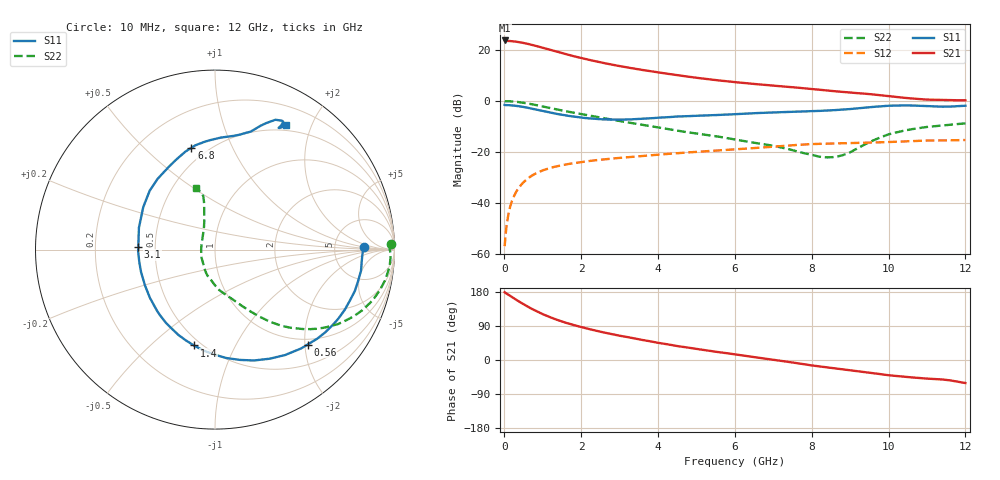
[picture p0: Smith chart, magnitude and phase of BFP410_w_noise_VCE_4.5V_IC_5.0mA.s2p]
! Infineon Technologies  Discrete & RF Semiconductors
! BFP410
! VCE =  4.5 V,  IC =  5.0 mA
! Common Emitter S-Parameters:  Nov 2015
# GHz  S  MA  R  50
!  f  S11  S21  S12  S22
! GHz  MAG  ANG  MAG  ANG  MAG  ANG  MAG  ANG
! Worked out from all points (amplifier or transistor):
!   243 points, 10 MHz to 12 GHz, reference 50 ohm
!   highest |S21| = 23.7 dB at 10 MHz (marker M1)
!   |S21| within 3 dB of that: start of sweep to 1.035 GHz
!   unconditionally stable (mu >= 1): start of sweep to 20.33 MHz; 3.109 GHz to end of sweep
!   at 240 MHz: K = 0.19, MSG = 30.6 dB, |S12| = -37.9 dB
!   at 1.84 GHz: K = 0.63, MSG = 20.9 dB, |S12| = -24.4 dB
!   at 12 GHz: K = 1.06, MAG = 6.3 dB, |S12| = -15.4 dB
!   lowest NFmin = 1.00 dB at 900 MHz
!   S11 on the Smith chart (normalised r, x): 10 MHz: 11, +1; 560 MHz: 0.88, -2.06; 1.4 GHz: 0.46, -0.70; 3.1 GHz: 0.40, +0.02; 6.8 GHz: 0.41, +0.71; 12 GHz: 0.43, +1.65
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0.01  0.8292 0.9  15.25 178.8  0.0014 11.1  0.9826 1.8
0.05  0.82 -3.8  14.96 175.7  0.003 62.5  0.9801 -1.4
0.14  0.8173 -11.6  14.87 170.2  0.0076 74.9  0.9764 -5.4
0.2  0.8123 -16.7  14.76 166.3  0.0107 75.4  0.9701 -7.9
0.34  0.7893 -28.3  14.33 157.2  0.0177 72.5  0.948 -13.3
0.45  0.7673 -37.1  13.88 150.4  0.0229 69.3  0.9252 -17.3
0.56  0.7391 -45.7  13.33 143.8  0.0276 66.0  0.897 -21.1
0.7  0.7053 -56.4  12.63 135.8  0.0332 62.1  0.8593 -25.5
0.9  0.6549 -70.6  11.53 125.7  0.0399 56.9  0.8021 -31.1
1.2  0.5855 -90.3  9.966 112.6  0.0481 50.7  0.718 -37.9
1.4  0.547 -102.4  9.028 105.1  0.0523 47.3  0.6677 -41.6
1.7  0.5018 -118.7  7.866 95.4  0.0579 43.3  0.6033 -46.1
2.02  0.4668 -134.5  6.845 86.5  0.0629 39.9  0.5448 -50.0
2.6  0.4315 -162.1  5.485 72.4  0.0707 34.9  0.4513 -56.2
3.1  0.4276 177.9  4.652 62.4  0.0767 31.7  0.3884 -60.8
4.1  0.4684 146.9  3.516 43.9  0.0886 26.4  0.2909 -71.0
5  0.5078 128.9  2.824 29.2  0.0993 21.3  0.2279 -83.7
6.1  0.5495 112.2  2.283 13.5  0.1122 15.5  0.1683 -98.4
6.8  0.5819 103.1  2.041 3.5  0.1223 11.5  0.1382 -111.1
8.2  0.6325 83.8  1.646 -16.9  0.1426 -0.2  0.0798 -163.0
10.2  0.8036 63.7  1.189 -42.1  0.1568 -13.8  0.2388 104.7
12  0.7988 60.1  1.02 -60.8  0.1696 -28.9  0.3601 106.9
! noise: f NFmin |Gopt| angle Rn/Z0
0.45  1.02  0.27  4  0.25
0.9  1  0.24  16  0.19
1.8  1.16  0.15  54  0.17
2.4  1.16  0.15  52  0.2
5.5  2.1  0.32  -125  0.21
10  3.4  0.67  -52  1.79
